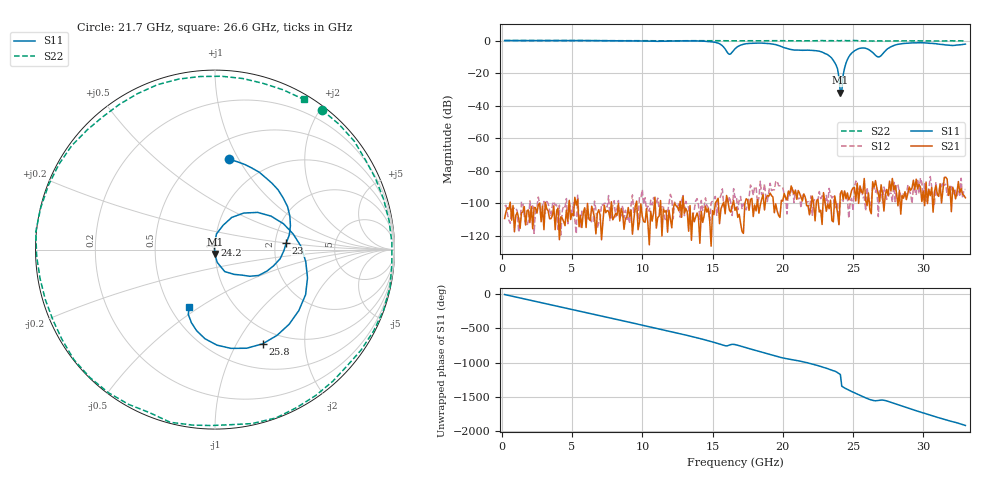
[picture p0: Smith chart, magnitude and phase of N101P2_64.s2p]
# GHZ S RI R 50
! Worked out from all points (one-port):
!   329 points, 200 MHz to 33 GHz, reference 50 ohm
!   lowest |S11| = -32.0 dB at 24.1 GHz (marker M1), VSWR 1.05, Z = 49.8 - j2.49 ohm
!   |S11| at or under -10 dB: 23.39 GHz to 24.7 GHz (1.314 GHz wide, 5.47 % of centre); 26.76528 GHz to 26.86886 GHz (103.6 MHz wide, 0.386 % of centre)
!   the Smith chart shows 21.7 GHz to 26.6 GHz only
!   S11 on the Smith chart (normalised r, x): 21.7 GHz: 0.67, +0.91; 23 GHz: 2.30, +0.20; 24.2 GHz: 0.99, +0.05; 25.8 GHz: 0.80, -1.29; 26.6 GHz: 0.62, -0.45
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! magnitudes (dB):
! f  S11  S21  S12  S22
! 200 MHz  0.0  -109.3  -101.7  0.0
! 5.7 GHz  0.0  -114.9  -104.8  0.0
! 11.2 GHz  -0.5  -107.9  -103.5  -0.2
! 15.2 GHz  -1.1  -100.0  -95.8  -0.1
! 16.2 GHz  -8.5  -104.1  -95.8  -0.2
! 16.6 GHz  -5.1  -104.3  -96.5  -0.2
! 18.5 GHz  -1.6  -97.5  -94.7  -0.1
! 21.7 GHz  -5.9  -101.5  -99.2  -0.2
! 22.1 GHz  -6.1  -95.6  -107.4  -0.2
! 23 GHz  -8.0  -99.3  -101.0  -0.2
! 23.8 GHz  -15.1  -100.7  -102.0  -0.1
! 24 GHz  -22.8  -113.1  -113.7  -0.2
! 24.1 GHz  -32.0  -94.1  -98.9  -0.1
! 24.2 GHz  -31.4  -92.3  -98.0  0.0
! 24.3 GHz  -21.2  -97.5  -98.8  0.0
! 24.7 GHz  -10.0  -97.9  -109.3  -0.1
! 25.8 GHz  -4.6  -84.8  -96.1  -0.3
! 26.6 GHz  -9.1  -86.1  -93.1  -0.2
! 26.9 GHz  -10.0  -98.9  -91.8  -0.2
! 27.6 GHz  -4.3  -86.4  -93.9  -0.3
! 29.1 GHz  -1.5  -92.0  -94.4  -0.2
! 33 GHz  -2.2  -96.6  -91.5  -0.2
